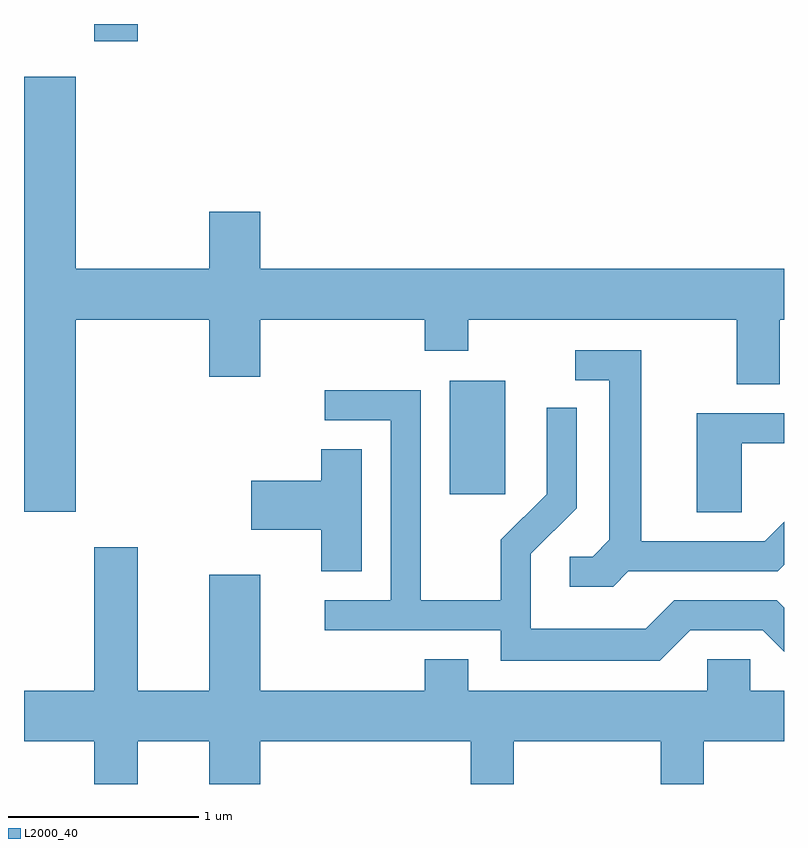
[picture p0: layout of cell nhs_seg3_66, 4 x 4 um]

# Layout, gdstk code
import gdstk
lib = gdstk.Library(unit=1e-6, precision=1e-09)
def R(c, l, rs):  # rectangles x0, y0, x1, y1
    for r in rs: c.add(gdstk.rectangle(r[:2], r[2:], *l))
def P(c, l, *ps):  # polygons
    for p in ps: c.add(gdstk.Polygon(p, *l))
L2000_40 = (2000, 40)

nhs_seg3_66 = lib.new_cell('nhs_seg3_66')
R(nhs_seg3_66, L2000_40, [(187.851,1249.416,188.144,1250.014), (185.981,1251.801,186.209,1251.892)])
P(nhs_seg3_66, L2000_40, [(185.884,1250.336),(186.586,1250.336),(186.586,1250.036),(186.854,1250.036),(186.854,1250.336),(187.721,1250.336),(187.721,1250.171),(187.949,1250.171),(187.949,1250.336),(189.361,1250.336),(189.361,1249.996),(189.589,1249.996),(189.589,1250.336),(189.611,1250.336),(189.611,1250.604),(186.854,1250.604),(186.854,1250.904),(186.586,1250.904),(186.586,1250.604),(185.884,1250.604),(185.884,1251.614),(185.611,1251.614),(185.611,1249.326),(185.884,1249.326)],
  [(188.792,1249.011),(189.577,1249.011),(189.611,1249.045),(189.611,1249.272),(189.509,1249.169),(188.859,1249.169),(188.859,1250.174),(188.513,1250.174),(188.513,1250.016),(188.691,1250.016),(188.691,1249.177),(188.604,1249.089),(188.483,1249.089),(188.483,1248.931),(188.712,1248.931)],
  [(189.117,1248.701),(189.499,1248.701),(189.611,1248.589),(189.611,1248.82),(189.572,1248.859),(189.034,1248.859),(188.884,1248.709),(188.279,1248.709),(188.279,1249.104),(188.519,1249.344),(188.519,1249.873),(188.361,1249.873),(188.361,1249.417),(188.121,1249.177),(188.121,1248.859),(187.699,1248.859),(187.699,1249.964),(187.193,1249.964),(187.193,1249.806),(187.541,1249.806),(187.541,1248.859),(187.193,1248.859),(187.193,1248.701),(188.121,1248.701),(188.121,1248.541),(188.957,1248.541)],
  [(189.389,1249.686),(189.611,1249.686),(189.611,1249.844),(189.151,1249.844),(189.151,1249.321),(189.389,1249.321)],
  [(187.389,1249.654),(187.176,1249.654),(187.176,1249.489),(186.806,1249.489),(186.806,1249.231),(187.176,1249.231),(187.176,1249.011),(187.389,1249.011)],
  [(186.209,1248.116),(186.586,1248.116),(186.586,1247.892),(186.854,1247.892),(186.854,1248.116),(187.961,1248.116),(187.961,1247.892),(188.189,1247.892),(188.189,1248.116),(188.961,1248.116),(188.961,1247.892),(189.189,1247.892),(189.189,1248.116),(189.611,1248.116),(189.611,1248.384),(189.434,1248.384),(189.434,1248.549),(189.206,1248.549),(189.206,1248.384),(187.949,1248.384),(187.949,1248.549),(187.721,1248.549),(187.721,1248.384),(186.854,1248.384),(186.854,1248.994),(186.586,1248.994),(186.586,1248.384),(186.209,1248.384),(186.209,1249.139),(185.981,1249.139),(185.981,1248.384),(185.611,1248.384),(185.611,1248.116),(185.981,1248.116),(185.981,1247.892),(186.209,1247.892)])

lib.write_gds('nhs_seg3_66.gds')
